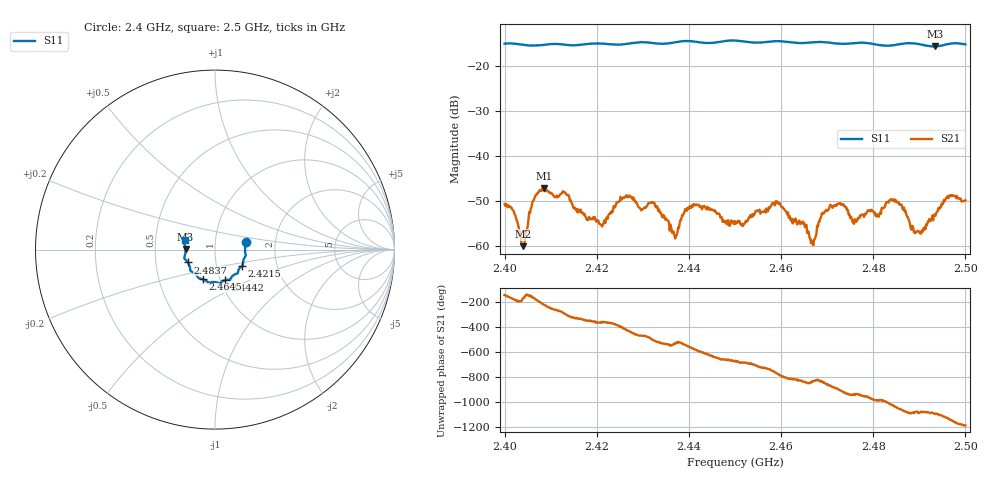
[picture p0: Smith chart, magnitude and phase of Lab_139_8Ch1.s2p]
# Hz S RI R 50
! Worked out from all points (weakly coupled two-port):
!   601 points, 2.4 GHz to 2.5 GHz, reference 50 ohm
!   highest |S21| = -47.17 dB at 2.4085 GHz (marker M1); lowest = -60.0 dB at 2.404 GHz (marker M2)
!   lowest |S11| = -15.7 dB at 2.4933 GHz (marker M3), VSWR 1.39, Z = 35.9 + j0.099 ohm
!   |S11| at or under -10 dB: start of sweep to end of sweep
!   S12 and S22 are empty: the file has one direction only
!   S11 on the Smith chart (normalised r, x): 2.4 GHz: 1.41, +0.12; 2.4215 GHz: 1.33, -0.25; 2.4442 GHz: 1.05, -0.37; 2.4645 GHz: 0.83, -0.29; 2.4837 GHz: 0.73, -0.11; 2.5 GHz: 0.71, +0.08
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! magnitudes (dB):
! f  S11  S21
! 2.4 GHz  -15.1  -50.7
! 2.404 GHz  -15.4  -60.0
! 2.4063 GHz  -15.5  -49.7
! 2.4085 GHz  -15.4  -47.2
! 2.4167 GHz  -15.3  -52.6
! 2.4215 GHz  -15.1  -54.9
! 2.4262 GHz  -15.2  -49.2
! 2.4333 GHz  -15.1  -52.2
! 2.4368 GHz  -14.8  -57.6
! 2.4397 GHz  -14.5  -51.5
! 2.4442 GHz  -15.0  -51.8
! 2.45 GHz  -14.4  -54.4
! 2.4593 GHz  -14.5  -50.4
! 2.4645 GHz  -15.0  -54.9
! 2.4667 GHz  -14.8  -58.7
! 2.471 GHz  -14.9  -51.1
! 2.476 GHz  -15.0  -54.0
! 2.4833 GHz  -15.6  -50.3
! 2.4837 GHz  -15.5  -49.7
! 2.4893 GHz  -15.1  -56.7
! 2.4933 GHz  -15.7  -53.2
! 2.5 GHz  -15.3  -49.8
